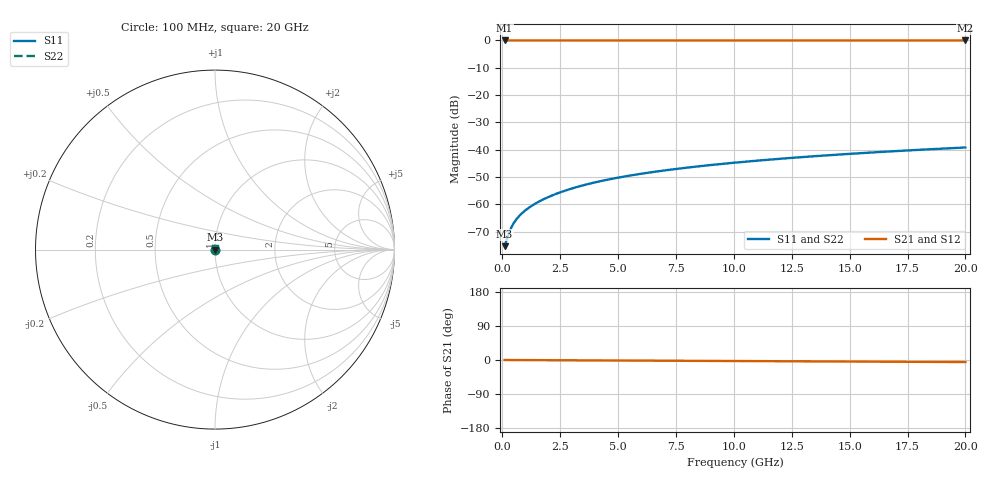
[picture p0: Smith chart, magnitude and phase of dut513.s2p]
! Touchstone file exported from HFSS 2026.1.0
!  File:  C:/ffzhzh/LocalFiles/Ansys_Project_Files/temp_train_TSV_513_1783023329_4048.aedt
!  Generated:  04:17:09 AM Jul  3, 2026
!  Design:  TSV
!  Project:  temp_train_TSV_513_1783023329_4048
! Variables:
!  h_bsmrdl = 2um
!  h_ox = 20um
!  h_rdl = 5um
!  h_sub = 51.74um
!  h_tmrdl = 5um
!  h_tsv = 51.74um
!  h_via = 3um
!  l_bsmrdl = 300um
!  l_sub = 414.74um
!  l_tmrdl = 200um
!  m_sub = 200um
!  pitch = 33.76um
!  r_tsv = 7.37um
!  s_tmrdl = 10um
!  w_bsmrdl = 18um
!  w_sub = 500um
!  w_tmrdl = 12um
!  x_tsv_center1 = 206um
!  x_tsv_center2 = 524um
!  x_tsv_center3 = 736um
!  x_tsv_center4 = 1054um
!  x_tsv_center5 = 1266um
!  x_tsv_center6 = 1584um
# GHz S MA R 50.000000
! Terminal data exported
! Port[1] = TSV1_1_T1
! Port[2] = TSV1_1_T2
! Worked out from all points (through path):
!   200 points, 100 MHz to 20 GHz, reference 50 ohm
!   highest |S21| = 0.00 dB at 100 MHz (marker M1); lowest = 0.0 dB at 20 GHz (marker M2)
!   lowest |S11| = -75.3 dB at 100 MHz (marker M3), VSWR 1.00, Z = 50 + j0.00894 ohm
!   |S11| at or under -10 dB: start of sweep to end of sweep
!   |S22| runs from -75.3 to -39.2 dB; largest |S21 - S12| = 3.5e-15
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0.1  0.0001724 31.2  0.9999 -0.0  0.9999 -0.0  0.0001724 31.2
! Gamma 0 0 0 0
! Port Impedance 50 0 50 0
0.2  0.0002365 48.2  0.9998 -0.1  0.9998 -0.1  0.0002365 48.2
0.3  0.000311 56.3  0.9998 -0.1  0.9998 -0.1  0.000311 56.3
0.4  0.0003861 60.4  0.9998 -0.1  0.9998 -0.1  0.0003861 60.4
0.5  0.0004587 62.9  0.9998 -0.1  0.9998 -0.1  0.0004587 62.9
0.6  0.0005281 64.5  0.9998 -0.2  0.9998 -0.2  0.0005281 64.5
0.7  0.0005946 65.7  0.9998 -0.2  0.9998 -0.2  0.0005946 65.7
0.8  0.0006587 66.7  0.9997 -0.2  0.9997 -0.2  0.0006587 66.7
1  0.000782 68.4  0.9997 -0.3  0.9997 -0.3  0.000782 68.4
1.4  0.00102 71.1  0.9997 -0.4  0.9997 -0.4  0.00102 71.1
1.7  0.001196 72.6  0.9996 -0.5  0.9996 -0.5  0.001196 72.6
2  0.001373 73.8  0.9996 -0.6  0.9996 -0.6  0.001373 73.8
2.7  0.001782 75.7  0.9996 -0.7  0.9996 -0.7  0.001782 75.7
3.5  0.002245 76.9  0.9995 -1.0  0.9995 -1.0  0.002245 76.9
4.2  0.002644 77.6  0.9995 -1.2  0.9995 -1.2  0.002644 77.6
5  0.003093 78.1  0.9994 -1.4  0.9994 -1.4  0.003093 78.1
6.8  0.004079 78.7  0.9993 -1.9  0.9993 -1.9  0.004079 78.7
8.3  0.004886 79.1  0.9993 -2.3  0.9993 -2.3  0.004886 79.1
10.1  0.005845 79.3  0.9992 -2.7  0.9992 -2.7  0.005845 79.3
13.4  0.007587 79.3  0.999 -3.6  0.999 -3.6  0.007587 79.3
16.7  0.009311 79.1  0.9989 -4.5  0.9989 -4.5  0.009311 79.1
20  0.01101 78.6  0.9988 -5.4  0.9988 -5.4  0.01101 78.6
